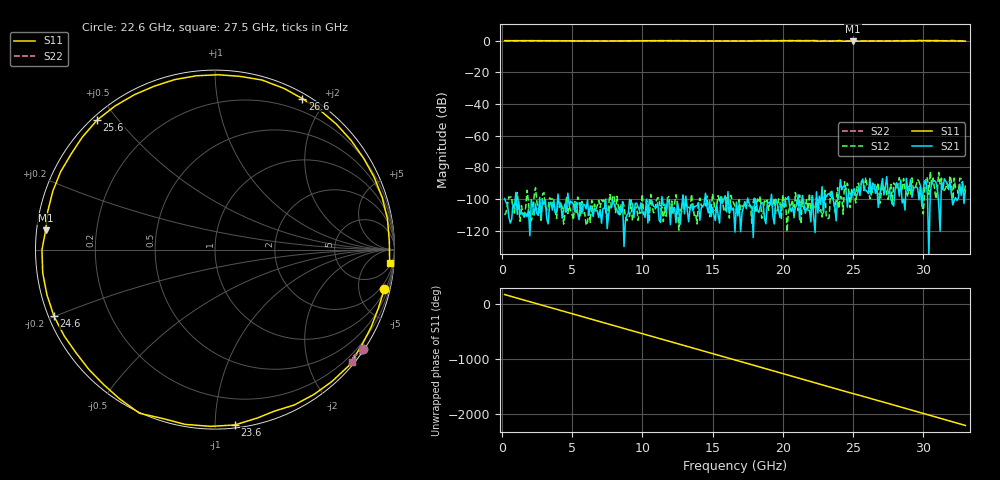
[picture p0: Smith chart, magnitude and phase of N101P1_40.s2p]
# GHZ S RI R 50
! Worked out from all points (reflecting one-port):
!   329 points, 200 MHz to 33 GHz, reference 50 ohm
!   lowest |S11| = -0.4 dB at 25 GHz (marker M1), VSWR 38.70, Z = 1.3 + j2.85 ohm
!   phase of S11 starts at 165 deg and turns -2368 deg over the sweep
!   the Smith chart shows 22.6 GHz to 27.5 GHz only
!   S11 on the Smith chart (normalised r, x): 22.6 GHz: 1.18, -8.45; 23.6 GHz: 0.02, -1.12; 24.6 GHz: 0.02, -0.20; 25.6 GHz: 0.01, +0.44; 26.6 GHz: 0.06, +1.73; 27.5 GHz: 8, -24
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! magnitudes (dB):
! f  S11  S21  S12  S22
! 200 MHz  0.0  -99.7  -110.2  0.0
! 5.7 GHz  -0.1  -109.2  -101.6  -0.1
! 11.2 GHz  0.0  -113.5  -99.7  0.1
! 16.6 GHz  -0.2  -121.0  -105.0  -0.1
! 22.1 GHz  0.0  -98.0  -97.4  0.1
! 22.6 GHz  -0.3  -98.2  -107.9  -0.1
! 23 GHz  -0.1  -96.6  -94.6  0.0
! 23.4 GHz  -0.4  -98.2  -95.6  -0.2
! 23.6 GHz  -0.1  -101.1  -99.1  0.0
! 24 GHz  0.0  -97.3  -106.0  0.1
! 24.3 GHz  -0.3  -92.1  -109.7  -0.1
! 24.6 GHz  -0.3  -105.2  -90.1  -0.1
! 25 GHz  -0.4  -94.6  -95.5  -0.2
! 25.6 GHz  -0.2  -89.0  -89.9  -0.2
! 26.6 GHz  -0.2  -96.5  -90.6  -0.2
! 27.5 GHz  -0.2  -96.9  -100.2  -0.1
! 27.6 GHz  -0.2  -95.2  -94.9  -0.1
! 29.6 GHz  0.0  -93.2  -87.9  0.1
! 31.1 GHz  -0.1  -102.9  -83.2  0.1
! 31.4 GHz  -0.1  -94.2  -94.6  -0.1
! 32 GHz  -0.1  -96.4  -88.2  0.1
! 33 GHz  -0.3  -94.6  -91.3  -0.1
